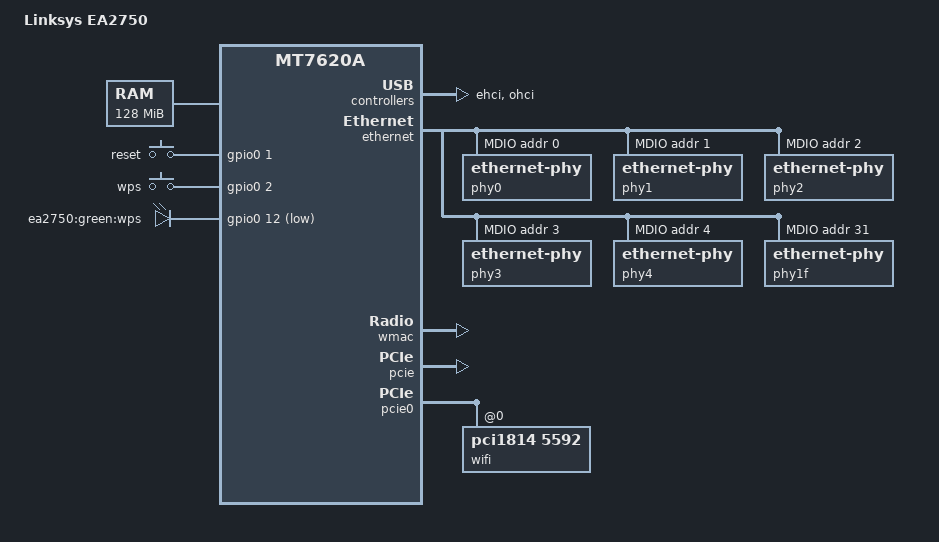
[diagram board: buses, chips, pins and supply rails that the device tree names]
/*
 * Device Tree file for the Linksys EA2750
 *
 * Copyright (C) 2014 Imre Kaloz <kaloz@openwrt.org>
 * Copyright (C) 2018 Tomislav Pozega <pozega.tomislav@gmail.com>
 *
 * This file is licensed under the terms of the GNU General Public
 * License version 2.  This program is licensed "as is" without any
 * warranty of any kind, whether express or implied.
 */

/dts-v1/;

#include "mt7620a.dtsi"

#include <dt-bindings/gpio/gpio.h>
#include <dt-bindings/input/input.h>

/ {
	compatible = "linksys,ea2750", "ralink,mt7620a-soc";
	model = "Linksys EA2750";

	memory@0 {
		device_type = "memory";
		reg = <0x0 0x8000000>;
	};

	chosen {
		bootargs = "console=ttyS0,115200";
	};

	gpio-keys-polled {
		compatible = "gpio-keys-polled";
		poll-interval = <20>;

		reset {
			label = "reset";
			gpios = <&gpio0 1 GPIO_ACTIVE_HIGH>;
			linux,code = <KEY_RESTART>;
		};

		wps {
			label = "wps";
			gpios = <&gpio0 2 GPIO_ACTIVE_HIGH>;
			linux,code = <KEY_WPS_BUTTON>;
		};
	};

	gpio-leds {
		compatible = "gpio-leds";

		wps {
			label = "ea2750:green:wps";
			gpios = <&gpio0 12 GPIO_ACTIVE_LOW>;
		};
	};

	nand {
		status = "okay";
		compatible = "mtk,mt7620-nand";
		#address-cells = <1>;
		#size-cells = <1>;

		partition@0 {
			label = "uboot";
			reg = <0x0 0x80000>;
			read-only;
		};

		partition@80000 {
			label = "u_env";
			reg = <0x80000 0x40000>;
			read-only;
		};

		factory: partition@c0000 {
			label = "Factory";
			reg = <0xc0000 0x40000>;
			read-only;
		};

		partition@100000 {
			label = "s_env";
			reg = <0x100000 0x40000>;
			read-only;
		};

		partition@140000 {
			label = "devinfo";
			reg = <0x140000 0x40000>;
			read-only;
		};

		partition@180000 {
			label = "kernel0";
			reg = <0x180000 0x200000>;
		};

		partition@380000 {
			label = "rootfs0";
			reg = <0x380000 0x2600000>;
		};

		/* uboot expects to find kernels at 0x200000 & 0x600000
		 * referred to as system 1 & system 2 respectively.
		 * a kernel is considered suitable for handing control over
		 * if its linux magic number exists & uImage CRC are correct.
		 * If either of those conditions fail, a matching sys'n'_fail flag
		 * is set in uboot env & a restart performed in the hope that the
		 * alternate kernel is okay.
		 * if neither kernel checksums ok and both are marked failed, system 2
		 * is booted anyway.
		 *
		 * Note uboot's tftp flash install writes the transferred
		 * image to both kernel partitions.
		 */

		partition@2980000 {
			label = "kernel1";
			reg = <0x2980000 0x200000>;
		};

		partition@2b80000 {
			label = "rootfs1";
			reg = <0x2b80000 0x2600000>;
		};

		/* ubi partition is the result of squashing
		 * next consecutive stock partitions:
		 * - rootfs0 (rootfs partition for stock kernel0),
		 * - rootfs1 (rootfs partition for stock failsafe kernel1),
		 * - overlay (used as ubi overlay in stock fw)
		 * resulting 117,5MiB space for packages.
		 */

		partition@a00000 {
			label = "syscfg";
			reg = <0x5180000 0x2e80000>;

/*		partition@a00000 {
			label = "ubi";
			reg = <0xa00000 0x7580000>;*/
		};
	};
};

&gpio0 {
	status = "okay";
};

&gpio1 {
	status = "okay";
};

&gpio2 {
	status = "okay";
};

&ehci {
	status = "okay";
};

&ohci {
	status = "okay";
};

&pinctrl {
	state_default: pinctrl0 {
		gpio {
			ralink,group = "i2c", "uartf";
			ralink,function = "gpio";
		};
	};
};

&ethernet {
	status = "okay";
	mtd-mac-address = <&factory 0x28>;
	pinctrl-names = "default";
	pinctrl-0 = <&rgmii1_pins &rgmii2_pins &mdio_pins>;

	port@5 {
		status = "okay";
		mediatek,fixed-link = <1000 1 1 1>;
		phy-mode = "rgmii";
	};

	mdio-bus {
		status = "okay";

		phy0: ethernet-phy@0 {
			reg = <0>;
			phy-mode = "rgmii";
		};

		phy1: ethernet-phy@1 {
			reg = <1>;
			phy-mode = "rgmii";
		};

		phy2: ethernet-phy@2 {
			reg = <2>;
			phy-mode = "rgmii";
		};

		phy3: ethernet-phy@3 {
			reg = <3>;
			phy-mode = "rgmii";
		};

		phy4: ethernet-phy@4 {
			reg = <4>;
			phy-mode = "rgmii";
		};

		phy1f: ethernet-phy@1f {
			reg = <0x1f>;
			phy-mode = "rgmii";
		};
	};
};

&gsw {
	mediatek,port4 = "gmac";
};

&wmac {
	ralink,mtd-eeprom = <&factory 0x0000>;
	pinctrl-names = "default";
	pinctrl-0 = <&pa_pins>;
};

&pcie {
	status = "okay";
};

&pcie0 {
	wifi@1814,5592 {
		compatible = "pci1814,5592";
		reg = <0x0000 0 0 0 0>;
		ralink,2ghz = <0>;
		ralink,mtd-eeprom = <&factory 0x8000>;
	};
};
